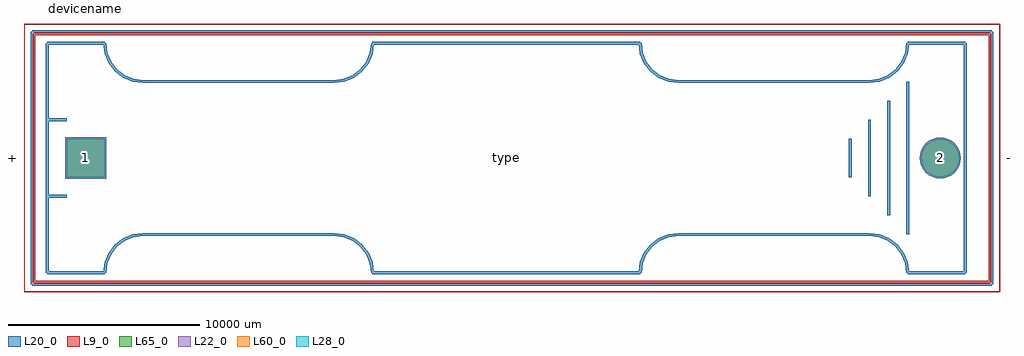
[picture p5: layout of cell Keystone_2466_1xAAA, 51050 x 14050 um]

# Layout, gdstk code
import gdstk
lib = gdstk.Library(unit=1e-6, precision=1e-09)
def R(c, l, rs):  # rectangles x0, y0, x1, y1
    for r in rs: c.add(gdstk.rectangle(r[:2], r[2:], *l))
def P(c, l, *ps):  # polygons
    for p in ps: c.add(gdstk.Polygon(p, *l))
L9_0 = (9, 0)
L20_0 = (20, 0)
L22_0 = (22, 0)
L28_0 = (28, 0)
L60_0 = (60, 0)
L65_0 = (65, 0)

keystone_2466_1xaaa = lib.new_cell('Keystone_2466_1xAAA')
R(keystone_2466_1xaaa, L22_0, [(-1075,-1075,1075,1075)])
P(keystone_2466_1xaaa, L22_0, [(45775,0),(45754.344,209.722),(45693.17,411.385),(45593.83,597.238),(45460.14,760.14),(45297.238,893.83),(45111.385,993.17),(44909.722,1054.344),(44700,1075),(44490.278,1054.344),(44288.615,993.17),(44102.762,893.83),(43939.86,760.14),(43806.17,597.238),(43706.83,411.385),(43645.656,209.722),(43625,0),(43645.656,-209.722),(43706.83,-411.385),(43806.17,-597.238),(43939.86,-760.14),(44102.762,-893.83),(44288.615,-993.17),(44490.278,-1054.344),(44700,-1075),(44909.722,-1054.344),(45111.385,-993.17),(45297.238,-893.83),(45460.14,-760.14),(45593.83,-597.238),(45693.17,-411.385),(45754.344,-209.722)])
R(keystone_2466_1xaaa, L28_0, [(-1000,-1000,1000,1000)])
P(keystone_2466_1xaaa, L28_0, [(45700,0),(45680.785,195.09),(45623.88,382.683),(45531.47,555.57),(45407.107,707.107),(45255.57,831.47),(45082.683,923.88),(44895.09,980.785),(44700,1000),(44504.91,980.785),(44317.317,923.88),(44144.43,831.47),(43992.893,707.107),(43868.53,555.57),(43776.12,382.683),(43719.215,195.09),(43700,0),(43719.215,-195.09),(43776.12,-382.683),(43868.53,-555.57),(43992.893,-707.107),(44144.43,-831.47),(44317.317,-923.88),(44504.91,-980.785),(44700,-1000),(44895.09,-980.785),(45082.683,-923.88),(45255.57,-831.47),(45407.107,-707.107),(45531.47,-555.57),(45623.88,-382.683),(45680.785,-195.09)])
R(keystone_2466_1xaaa, L60_0, [(-1000,-1000,1000,1000)])
P(keystone_2466_1xaaa, L60_0, [(45700,0),(45680.785,195.09),(45623.88,382.683),(45531.47,555.57),(45407.107,707.107),(45255.57,831.47),(45082.683,923.88),(44895.09,980.785),(44700,1000),(44504.91,980.785),(44317.317,923.88),(44144.43,831.47),(43992.893,707.107),(43868.53,555.57),(43776.12,382.683),(43719.215,195.09),(43700,0),(43719.215,-195.09),(43776.12,-382.683),(43868.53,-555.57),(43992.893,-707.107),(44144.43,-831.47),(44317.317,-923.88),(44504.91,-980.785),(44700,-1000),(44895.09,-980.785),(45082.683,-923.88),(45255.57,-831.47),(45407.107,-707.107),(45531.47,-555.57),(45623.88,-382.683),(45680.785,-195.09)])
R(keystone_2466_1xaaa, L65_0, [(-1075,-1075,1075,1075)])
P(keystone_2466_1xaaa, L65_0, [(45775,0),(45754.344,209.722),(45693.17,411.385),(45593.83,597.238),(45460.14,760.14),(45297.238,893.83),(45111.385,993.17),(44909.722,1054.344),(44700,1075),(44490.278,1054.344),(44288.615,993.17),(44102.762,893.83),(43939.86,760.14),(43806.17,597.238),(43706.83,411.385),(43645.656,209.722),(43625,0),(43645.656,-209.722),(43706.83,-411.385),(43806.17,-597.238),(43939.86,-760.14),(44102.762,-893.83),(44288.615,-993.17),(44490.278,-1054.344),(44700,-1075),(44909.722,-1054.344),(45111.385,-993.17),(45297.238,-893.83),(45460.14,-760.14),(45593.83,-597.238),(45693.17,-411.385),(45754.344,-209.722)])
keystone_2466_1xaaa.add(gdstk.FlexPath([(-2700,-6500),(-2700,0)], 149.998, ends="flush", simple_path=True, layer=9, datatype=0))  # L9_0
keystone_2466_1xaaa.add(gdstk.FlexPath([(47300,-6500),(-2700,-6500)], 149.998, ends="flush", simple_path=True, layer=9, datatype=0))  # L9_0
keystone_2466_1xaaa.add(gdstk.FlexPath([(47300,6500),(47300,-6500)], 149.998, ends="flush", simple_path=True, layer=9, datatype=0))  # L9_0
keystone_2466_1xaaa.add(gdstk.FlexPath([(-2700,6500),(47300,6500)], 149.998, ends="flush", simple_path=True, layer=9, datatype=0))  # L9_0
keystone_2466_1xaaa.add(gdstk.FlexPath([(-2700,0),(-2700,6500)], 149.998, ends="flush", simple_path=True, layer=9, datatype=0))  # L9_0
keystone_2466_1xaaa.add(gdstk.FlexPath([(46000,-6000),(43000,-6000)], 149.998, ends="flush", simple_path=True, layer=20, datatype=0))  # L20_0
keystone_2466_1xaaa.add(gdstk.FlexPath([(46000,6000),(46000,-6000)], 149.998, ends="flush", simple_path=True, layer=20, datatype=0))  # L20_0
keystone_2466_1xaaa.add(gdstk.FlexPath([(46000,6000),(43000,6000)], 149.998, ends="flush", simple_path=True, layer=20, datatype=0))  # L20_0
keystone_2466_1xaaa.add(gdstk.FlexPath([(-2000,-6000),(1000,-6000)], 149.998, ends="flush", simple_path=True, layer=20, datatype=0))  # L20_0
keystone_2466_1xaaa.add(gdstk.FlexPath([(-2000,6000),(-2000,-6000)], 149.998, ends="flush", simple_path=True, layer=20, datatype=0))  # L20_0
keystone_2466_1xaaa.add(gdstk.FlexPath([(-2000,6000),(1000,6000)], 149.998, ends="flush", simple_path=True, layer=20, datatype=0))  # L20_0
keystone_2466_1xaaa.add(gdstk.FlexPath([(1000,6000),(1068.148,5482.362),(1267.949,5000),(1585.786,4585.786),(2000,4267.949),(2482.362,4068.148),(3000,4000)], 149.998, ends="flush", simple_path=True, layer=20, datatype=0))  # L20_0
keystone_2466_1xaaa.add(gdstk.FlexPath([(41000,4000),(41517.638,4068.148),(42000,4267.949),(42414.214,4585.786),(42732.051,5000),(42931.852,5482.362),(43000,6000)], 149.998, ends="flush", simple_path=True, layer=20, datatype=0))  # L20_0
keystone_2466_1xaaa.add(gdstk.FlexPath([(43000,-6000),(42931.852,-5482.362),(42732.051,-5000),(42414.214,-4585.786),(42000,-4267.949),(41517.638,-4068.148),(41000,-4000)], 149.998, ends="flush", simple_path=True, layer=20, datatype=0))  # L20_0
keystone_2466_1xaaa.add(gdstk.FlexPath([(41000,-4000),(31000,-4000)], 149.998, ends="flush", simple_path=True, layer=20, datatype=0))  # L20_0
keystone_2466_1xaaa.add(gdstk.FlexPath([(41000,4000),(31000,4000)], 149.998, ends="flush", simple_path=True, layer=20, datatype=0))  # L20_0
keystone_2466_1xaaa.add(gdstk.FlexPath([(3000,-4000),(2482.362,-4068.148),(2000,-4267.949),(1585.786,-4585.786),(1267.949,-5000),(1068.148,-5482.362),(1000,-6000)], 149.998, ends="flush", simple_path=True, layer=20, datatype=0))  # L20_0
keystone_2466_1xaaa.add(gdstk.FlexPath([(3000,4000),(13000,4000)], 149.998, ends="flush", simple_path=True, layer=20, datatype=0))  # L20_0
keystone_2466_1xaaa.add(gdstk.FlexPath([(3000,-4000),(13000,-4000)], 149.998, ends="flush", simple_path=True, layer=20, datatype=0))  # L20_0
keystone_2466_1xaaa.add(gdstk.FlexPath([(31000,-4000),(30482.362,-4068.148),(30000,-4267.949),(29585.786,-4585.786),(29267.949,-5000),(29068.148,-5482.362),(29000,-6000)], 149.998, ends="flush", simple_path=True, layer=20, datatype=0))  # L20_0
keystone_2466_1xaaa.add(gdstk.FlexPath([(15000,-6000),(14931.852,-5482.362),(14732.051,-5000),(14414.214,-4585.786),(14000,-4267.949),(13517.638,-4068.148),(13000,-4000)], 149.998, ends="flush", simple_path=True, layer=20, datatype=0))  # L20_0
keystone_2466_1xaaa.add(gdstk.FlexPath([(13000,4000),(13517.638,4068.148),(14000,4267.949),(14414.214,4585.786),(14732.051,5000),(14931.852,5482.362),(15000,6000)], 149.998, ends="flush", simple_path=True, layer=20, datatype=0))  # L20_0
keystone_2466_1xaaa.add(gdstk.FlexPath([(29000,6000),(29068.148,5482.362),(29267.949,5000),(29585.786,4585.786),(30000,4267.949),(30482.362,4068.148),(31000,4000)], 149.998, ends="flush", simple_path=True, layer=20, datatype=0))  # L20_0
keystone_2466_1xaaa.add(gdstk.FlexPath([(29000,6000),(15000,6000)], 149.998, ends="flush", simple_path=True, layer=20, datatype=0))  # L20_0
keystone_2466_1xaaa.add(gdstk.FlexPath([(15000,-6000),(29000,-6000)], 149.998, ends="flush", simple_path=True, layer=20, datatype=0))  # L20_0
keystone_2466_1xaaa.add(gdstk.FlexPath([(-1000,-2000),(-2000,-2000)], 149.998, ends="flush", simple_path=True, layer=20, datatype=0))  # L20_0
keystone_2466_1xaaa.add(gdstk.FlexPath([(-2000,2000),(-1000,2000)], 149.998, ends="flush", simple_path=True, layer=20, datatype=0))  # L20_0
keystone_2466_1xaaa.add(gdstk.FlexPath([(43000,4000),(43000,-4000)], 149.998, ends="flush", simple_path=True, layer=20, datatype=0))  # L20_0
keystone_2466_1xaaa.add(gdstk.FlexPath([(42000,-3000),(42000,3000)], 149.998, ends="flush", simple_path=True, layer=20, datatype=0))  # L20_0
keystone_2466_1xaaa.add(gdstk.FlexPath([(41000,2000),(41000,-2000)], 149.998, ends="flush", simple_path=True, layer=20, datatype=0))  # L20_0
keystone_2466_1xaaa.add(gdstk.FlexPath([(40000,1000),(40000,-1000)], 149.998, ends="flush", simple_path=True, layer=20, datatype=0))  # L20_0
keystone_2466_1xaaa.add(gdstk.FlexPath([(47400,6600),(-2800,6600)], 149.998, ends="flush", simple_path=True, layer=20, datatype=0))  # L20_0
keystone_2466_1xaaa.add(gdstk.FlexPath([(-2800,6600),(-2800,-6600)], 149.998, ends="flush", simple_path=True, layer=20, datatype=0))  # L20_0
keystone_2466_1xaaa.add(gdstk.FlexPath([(-2800,-6600),(47400,-6600)], 149.998, ends="flush", simple_path=True, layer=20, datatype=0))  # L20_0
keystone_2466_1xaaa.add(gdstk.FlexPath([(47400,-6600),(47400,6600)], 149.998, ends="flush", simple_path=True, layer=20, datatype=0))  # L20_0
keystone_2466_1xaaa.add(gdstk.FlexPath([(47800,7000),(-3200,7000)], 50, ends="flush", simple_path=True, layer=9, datatype=0))  # L9_0
keystone_2466_1xaaa.add(gdstk.FlexPath([(-3200,7000),(-3200,-7000)], 50, ends="flush", simple_path=True, layer=9, datatype=0))  # L9_0
keystone_2466_1xaaa.add(gdstk.FlexPath([(-3200,-7000),(47800,-7000)], 50, ends="flush", simple_path=True, layer=9, datatype=0))  # L9_0
keystone_2466_1xaaa.add(gdstk.FlexPath([(47800,-7000),(47800,7000)], 50, ends="flush", simple_path=True, layer=9, datatype=0))  # L9_0
keystone_2466_1xaaa.add(gdstk.Label('2', (44700,0), layer=28, texttype=0))
keystone_2466_1xaaa.add(gdstk.Label('1', (0,0), layer=28, texttype=0))
keystone_2466_1xaaa.add(gdstk.Label('+', (-3810,0), layer=9, texttype=0))
keystone_2466_1xaaa.add(gdstk.Label('-', (48260,0), layer=9, texttype=0))
keystone_2466_1xaaa.add(gdstk.Label('type', (22000,0), layer=9, texttype=0))
keystone_2466_1xaaa.add(gdstk.Label('devicename', (0,8000), layer=9, texttype=0))

lib.write_gds('Keystone_2466_1xAAA.gds')
